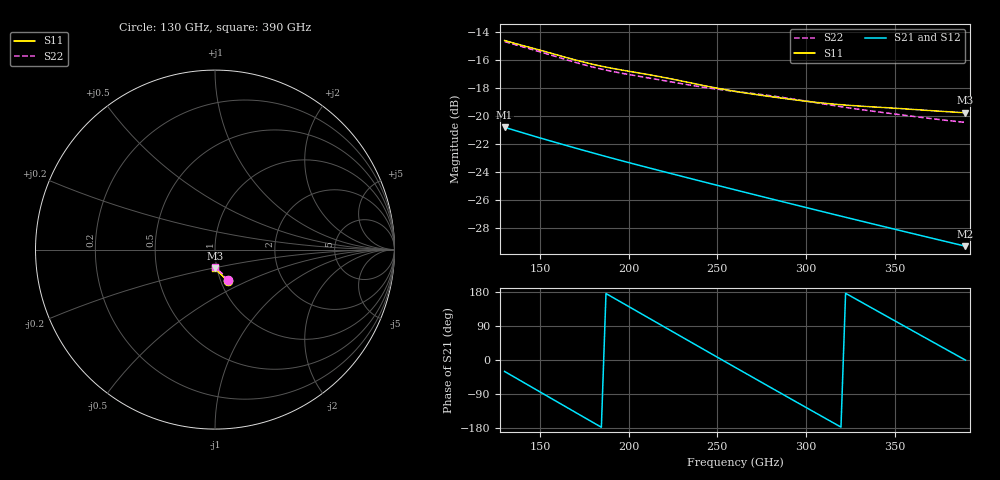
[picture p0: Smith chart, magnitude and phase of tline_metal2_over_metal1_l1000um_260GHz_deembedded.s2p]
! Created with skrf 2.2.0 (http://scikit-rf.org).
# GHz S DB R 50.0
! Port[1] = P1
! Port[2] = P2
!freq dBS11 angS11 dBS21 angS21 dBS12 angS12 dBS22 angS22
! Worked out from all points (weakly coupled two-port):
!   101 points, 130 GHz to 390 GHz, reference 50 ohm
!   highest |S21| = -20.80 dB at 130 GHz (marker M1); lowest = -29.3 dB at 390 GHz (marker M2)
!   lowest |S11| = -19.8 dB at 390 GHz (marker M3), VSWR 1.23, Z = 49.1 - j10.2 ohm
!   |S11| at or under -10 dB: start of sweep to end of sweep
!   |S22| runs from -20.4 to -14.7 dB; largest |S21 - S12| = 1.3e-13
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130  -14.59 -67.9  -20.80 -30.2  -20.80 -30.2  -14.67 -66.6
140.4  -14.96 -69.0  -21.20 -58.3  -21.20 -58.3  -15.05 -67.7
150.8  -15.31 -70.4  -21.59 -86.4  -21.59 -86.4  -15.43 -69.0
161.2  -15.68 -71.8  -21.97 -114.5  -21.97 -114.5  -15.83 -70.2
174.2  -16.13 -73.2  -22.44 -149.5  -22.44 -149.5  -16.31 -71.4
182  -16.36 -73.9  -22.71 -170.5  -22.71 -170.5  -16.56 -71.9
192.4  -16.62 -74.7  -23.07 161.5  -23.07 161.5  -16.85 -72.5
205.4  -16.91 -76.1  -23.50 126.7  -23.50 126.7  -17.14 -73.5
218.4  -17.20 -77.8  -23.93 91.9  -23.93 91.9  -17.43 -74.7
228.8  -17.46 -79.1  -24.27 64.0  -24.27 64.0  -17.66 -75.7
241.8  -17.80 -80.4  -24.69 29.3  -24.69 29.3  -17.93 -76.8
249.6  -17.99 -81.0  -24.94 8.5  -24.94 8.5  -18.07 -77.4
260  -18.23 -81.7  -25.27 -19.1  -25.27 -19.1  -18.24 -78.3
270.4  -18.43 -82.3  -25.60 -46.7  -25.60 -46.7  -18.39 -79.4
280.8  -18.62 -82.9  -25.93 -74.3  -25.93 -74.3  -18.56 -80.6
291.2  -18.80 -83.5  -26.26 -101.8  -26.26 -101.8  -18.75 -81.9
304.2  -19.00 -84.1  -26.67 -136.1  -26.67 -136.1  -19.01 -83.3
314.6  -19.13 -84.6  -27.00 -163.4  -27.00 -163.4  -19.22 -84.3
325  -19.24 -85.0  -27.32 169.3  -27.32 169.3  -19.43 -85.0
348.4  -19.42 -86.4  -28.04 108.0  -28.04 108.0  -19.83 -86.7
366.6  -19.58 -87.6  -28.60 60.6  -28.60 60.6  -20.12 -87.9
390  -19.76 -89.0  -29.31 -0.2  -29.31 -0.2  -20.45 -89.1
